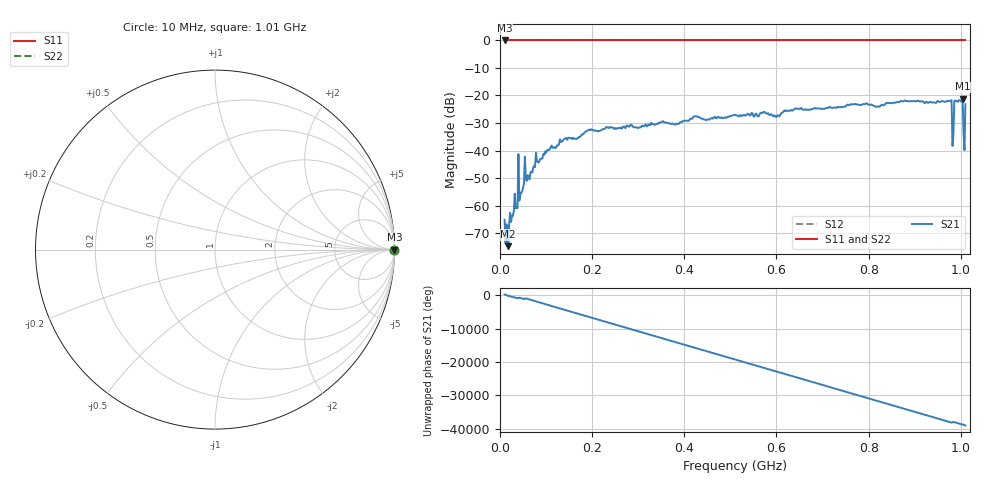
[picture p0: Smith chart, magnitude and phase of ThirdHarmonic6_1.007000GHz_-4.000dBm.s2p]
! 8/16/2025 8:13:26 AM
! C:\ANRITSUVNA\TEMP\TEMP.S2P
! CHANNEL.1
! TR.MEASUREMENT
! RAW.DATA
! RF.CORRECTION.OFF
! AVERAGING.OFF
! IF.BANDWIDTH: 5KHZ
! SWEEPTYPE:  FREQ.SWEEP(Linear)
! Reference Plane Port Info
! PORT:  PORT1  PORT2
! DISTANCE:  0  m  0  m
! TIME:  0  s  0  s
! PHASE.OFFSET:  0  deg.  0  deg.
! LOSS:  0  dB  0  dB
! REF.LOSS:  0  dB  0  dB
! REF.FREQ:  0  Hz  0  Hz
! Power Info
! POWER:  -20  dBm  -20  dBm
! EFF.POWER:  -20  dBm  -20  dBm
! SOURCE.ATTEN:  0  dB  0  dB
! TEST.ATTEN:  0  dB  0  dB
# GHZ S RI R 50.0
! FREQ.GHZ  S11RE  S11IM  S21RE  S21IM  S12RE  S12IM  S22RE  S22IM
!; PortSelection: Port_12
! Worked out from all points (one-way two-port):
!   501 points, 10 MHz to 1.01 GHz, reference 50 ohm
!   highest |S21| = -21.17 dB at 1.004 GHz (marker M1); lowest = -74.8 dB at 18 MHz (marker M2)
!   lowest |S11| = 0.0 dB at 10 MHz (marker M3)
!   |S11| at or under -10 dB: nowhere
!   |S22| runs from 0.0 to 0.0 dB; largest |S21 - S12| = 1.1
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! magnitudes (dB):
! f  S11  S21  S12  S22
! 10 MHz  0.0  -65.2  0.0  0.0
! 16 MHz  0.0  -67.6  0.0  0.0
! 18 MHz  0.0  -74.8  0.0  0.0
! 34 MHz  0.0  -61.0  0.0  0.0
! 36 MHz  0.0  -60.5  0.0  0.0
! 44 MHz  0.0  -56.1  0.0  0.0
! 46 MHz  0.0  -55.3  0.0  0.0
! 56 MHz  0.0  -50.4  0.0  0.0
! 78 MHz  0.0  -40.8  0.0  0.0
! 134 MHz  0.0  -36.8  0.0  0.0
! 178 MHz  0.0  -34.3  0.0  0.0
! 344 MHz  0.0  -30.2  0.0  0.0
! 510 MHz  0.0  -27.0  0.0  0.0
! 678 MHz  0.0  -25.0  0.0  0.0
! 844 MHz  0.0  -22.8  0.0  0.0
! 976 MHz  0.0  -22.0  0.0  0.0
! 980 MHz  0.0  -21.7  0.0  0.0
! 986 MHz  0.0  -22.0  0.0  0.0
! 990 MHz  0.0  -21.9  0.0  0.0
! 1 GHz  0.0  -22.1  0.0  0.0
! 1.004 GHz  0.0  -21.2  0.0  0.0
! 1.01 GHz  0.0  -23.2  0.0  0.0
